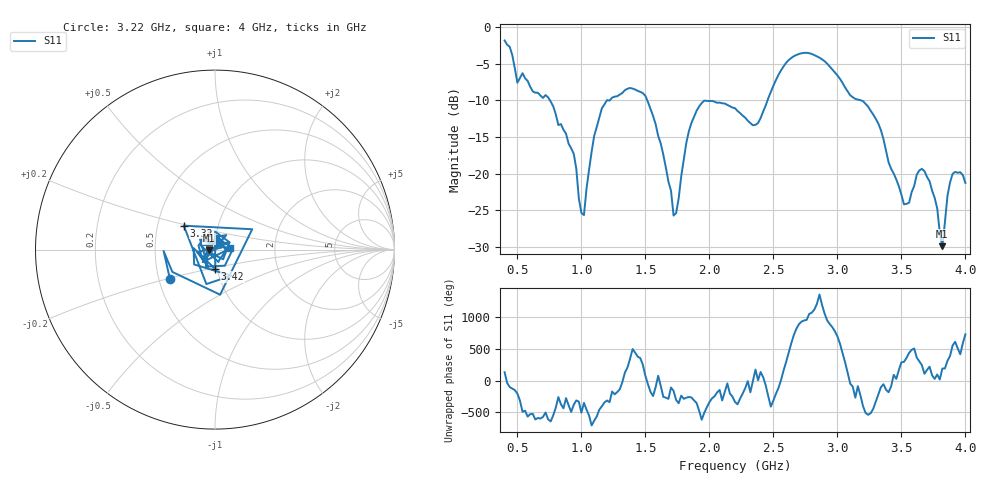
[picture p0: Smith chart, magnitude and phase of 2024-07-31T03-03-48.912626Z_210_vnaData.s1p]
!Created with skrf (http://scikit-rf.org).
# Hz S RI R 50.0
!freq ReS11 ImS11
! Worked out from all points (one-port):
!   181 points, 400 MHz to 4 GHz, reference 50 ohm
!   lowest |S11| = -29.9 dB at 3.82 GHz (marker M1), VSWR 1.07, Z = 46.9 - j0.435 ohm
!   |S11| at or under -10 dB: 754.1 MHz to 1.199 GHz (445 MHz wide, 45.6 % of centre); 1.514 GHz to 2.454 GHz (939.9 MHz wide, 47.4 % of centre); 3.181 GHz to end of sweep (the widest 3 of 4)
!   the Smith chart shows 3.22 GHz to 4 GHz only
!   S11 on the Smith chart (normalised r, x): 3.22 GHz: 0.57, -0.20; 3.32 GHz: 0.68, +0.19; 3.42 GHz: 0.98, -0.21; 4 GHz: 1.19, +0.02
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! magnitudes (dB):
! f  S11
! 400 MHz  -1.8
! 500 MHz  -7.6
! 740 MHz  -9.6
! 860 MHz  -14.0
! 940 MHz  -17.3
! 1.02 GHz  -25.6
! 1.1 GHz  -14.8
! 1.16 GHz  -11.1
! 1.3 GHz  -9.2
! 1.5 GHz  -9.4
! 1.62 GHz  -15.9
! 1.72 GHz  -25.7
! 1.76 GHz  -23.4
! 1.84 GHz  -14.2
! 1.92 GHz  -10.8
! 2.2 GHz  -11.1
! 2.38 GHz  -13.1
! 2.66 GHz  -4.0
! 2.88 GHz  -4.4
! 3.1 GHz  -9.3
! 3.22 GHz  -10.5
! 3.32 GHz  -13.2
! 3.42 GHz  -19.4
! 3.56 GHz  -24.0
! 3.68 GHz  -19.6
! 3.82 GHz  -29.9
! 3.9 GHz  -20.0
! 4 GHz  -21.3
